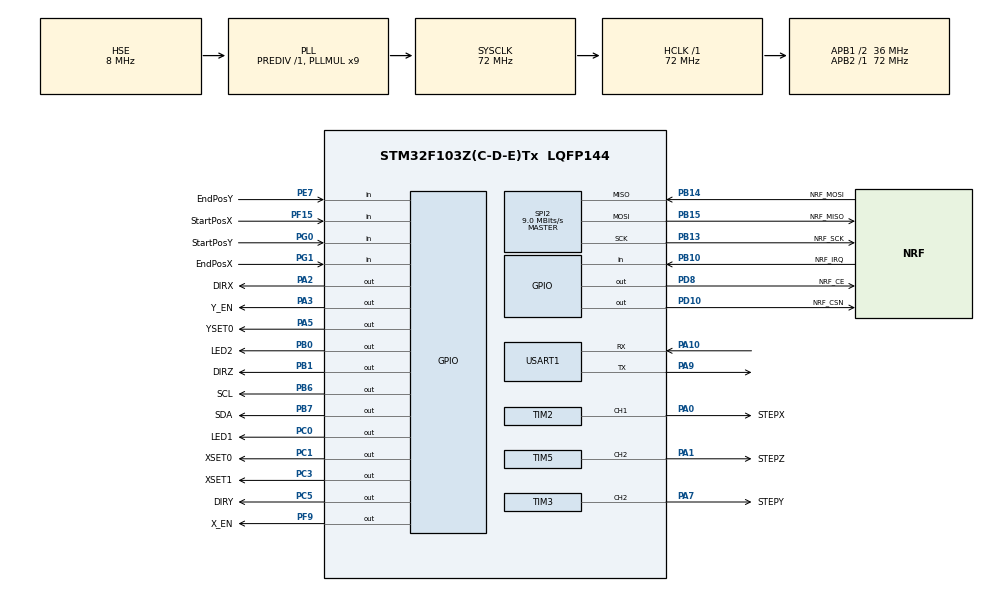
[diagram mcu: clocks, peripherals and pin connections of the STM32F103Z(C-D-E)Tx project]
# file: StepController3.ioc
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Dma.Request0=TIM2_CH1
Dma.Request1=TIM3_CH4/UP
Dma.TIM2_CH1.0.Direction=DMA_MEMORY_TO_PERIPH
Dma.TIM2_CH1.0.Instance=DMA1_Channel5
Dma.TIM2_CH1.0.MemDataAlignment=DMA_MDATAALIGN_HALFWORD
Dma.TIM2_CH1.0.MemInc=DMA_MINC_ENABLE
Dma.TIM2_CH1.0.Mode=DMA_NORMAL
Dma.TIM2_CH1.0.PeriphDataAlignment=DMA_PDATAALIGN_HALFWORD
Dma.TIM2_CH1.0.PeriphInc=DMA_PINC_DISABLE
Dma.TIM2_CH1.0.Priority=DMA_PRIORITY_MEDIUM
Dma.TIM3_CH4/UP.1.Direction=DMA_MEMORY_TO_PERIPH
Dma.TIM3_CH4/UP.1.Instance=DMA1_Channel3
Dma.TIM3_CH4/UP.1.MemDataAlignment=DMA_MDATAALIGN_HALFWORD
Dma.TIM3_CH4/UP.1.MemInc=DMA_MINC_ENABLE
Dma.TIM3_CH4/UP.1.Mode=DMA_NORMAL
Dma.TIM3_CH4/UP.1.PeriphDataAlignment=DMA_PDATAALIGN_HALFWORD
Dma.TIM3_CH4/UP.1.PeriphInc=DMA_PINC_DISABLE
Dma.TIM3_CH4/UP.1.Priority=DMA_PRIORITY_LOW
FREERTOS.Tasks01=Task01,0,160,NRFTask,Default;Task02,-3,180,StepperTask02,Default
Mcu.Family=STM32F1
Mcu.Name=STM32F103Z(C-D-E)Tx
Mcu.Package=LQFP144
NVIC.DMA1_Channel3_IRQn=true\:5\:0\:false\:false\:true\:true
NVIC.DMA1_Channel5_IRQn=true\:5\:0\:false\:false\:true\:true
NVIC.PriorityGroup=NVIC_PRIORITYGROUP_4
NVIC.TIM2_IRQn=true\:5\:0\:false\:false\:true\:true
NVIC.TIM3_IRQn=true\:5\:0\:false\:false\:true\:true
NVIC.TIM4_IRQn=true\:0\:0\:false\:false\:true\:false
NVIC.TIM5_IRQn=true\:5\:0\:false\:false\:true\:true
NVIC.TIM6_IRQn=true\:0\:0\:false\:false\:true\:false
NVIC.TIM7_IRQn=true\:5\:0\:false\:false\:true\:true
OSC_IN.Mode=HSE-External-Oscillator
OSC_IN.Signal=RCC_OSC_IN
OSC_OUT.Mode=HSE-External-Oscillator
OSC_OUT.Signal=RCC_OSC_OUT
PA0-WKUP.GPIO_Label=STEPX
PA0-WKUP.GPIO_Speed=GPIO_SPEED_FREQ_HIGH
PA0-WKUP.Signal=S_TIM2_CH1_ETR
PA1.GPIO_Label=STEPZ
PA1.GPIO_Speed=GPIO_SPEED_FREQ_HIGH
PA1.Signal=S_TIM5_CH2
PA10.Mode=Asynchronous
PA10.Signal=USART1_RX
PA13.Mode=Serial_Wire
PA13.Signal=SYS_JTMS-SWDIO
PA14.Mode=Serial_Wire
PA14.Signal=SYS_JTCK-SWCLK
PA2.GPIO_Label=DIRX
PA2.Signal=GPIO_Output
PA3.GPIO_Label=Y_EN
PA3.Signal=GPIO_Output
PA5.GPIO_Label=YSET0
PA5.Signal=GPIO_Output
PA7.GPIO_Label=STEPY
PA7.GPIO_Speed=GPIO_SPEED_FREQ_HIGH
PA7.Signal=S_TIM3_CH2
PA9.Mode=Asynchronous
PA9.Signal=USART1_TX
PB0.GPIO_Label=LED2
PB0.Signal=GPIO_Output
PB1.GPIO_Label=DIRZ
PB1.Signal=GPIO_Output
PB10.GPIO_Label=NRF_IRQ
PB10.Signal=GPIO_Input
PB13.GPIO_Label=NRF_SCK
PB13.Mode=Full_Duplex_Master
PB13.Signal=SPI2_SCK
PB14.GPIO_Label=NRF_MOSI
PB14.Mode=Full_Duplex_Master
PB14.Signal=SPI2_MISO
PB15.GPIO_Label=NRF_MISO
PB15.Mode=Full_Duplex_Master
PB15.Signal=SPI2_MOSI
PB6.GPIO_Label=SCL
PB6.GPIO_Speed=GPIO_SPEED_FREQ_HIGH
PB6.Signal=GPIO_Output
PB7.GPIO_Label=SDA
PB7.GPIO_Speed=GPIO_SPEED_FREQ_HIGH
PB7.Signal=GPIO_Output
PC0.GPIO_Label=LED1
PC0.Signal=GPIO_Output
PC1.GPIO_Label=XSET0
PC1.Signal=GPIO_Output
PC14-OSC32_IN.Mode=LSE-External-Oscillator
PC14-OSC32_IN.Signal=RCC_OSC32_IN
PC15-OSC32_OUT.Mode=LSE-External-Oscillator
PC15-OSC32_OUT.Signal=RCC_OSC32_OUT
PC3.GPIO_Label=XSET1
PC3.Signal=GPIO_Output
PC5.GPIO_Label=DIRY
PC5.Signal=GPIO_Output
PD10.GPIO_Label=NRF_CSN
PD10.Signal=GPIO_Output
PD8.GPIO_Label=NRF_CE
PD8.Signal=GPIO_Output
PE7.GPIO_Label=EndPosY
PE7.Signal=GPIO_Input
PF15.GPIO_Label=StartPosX
PF15.Signal=GPIO_Input
PF9.GPIO_Label=X_EN
PF9.Signal=GPIO_Output
PG0.GPIO_Label=StartPosY
PG0.Signal=GPIO_Input
PG1.GPIO_Label=EndPosX
PG1.Signal=GPIO_Input
ProjectManager.HeapSize=0x200
ProjectManager.StackSize=0x400
ProjectManager.TargetToolchain=MDK-ARM V5
RCC.AHBFreq_Value=72000000
RCC.APB1CLKDivider=RCC_HCLK_DIV2
RCC.APB1Freq_Value=36000000
RCC.APB1TimFreq_Value=72000000
RCC.APB2Freq_Value=72000000
RCC.APB2TimFreq_Value=72000000
RCC.HCLKFreq_Value=72000000
RCC.HSIState=RCC_HSI_ON
RCC.PLLMUL=RCC_PLL_MUL9
RCC.PLLSourceVirtual=RCC_PLLSOURCE_HSE
RCC.SYSCLKFreq_VALUE=72000000
RCC.SYSCLKSource=RCC_SYSCLKSOURCE_PLLCLK
RCC.USBFreq_Value=72000000
SH.S_TIM2_CH1_ETR.0=TIM2_CH1,Output Compare1 CH1
SH.S_TIM3_CH2.0=TIM3_CH2,Output Compare2 CH2
SH.S_TIM5_CH2.0=TIM5_CH2,PWM Generation2 CH2
SPI2.BaudRatePrescaler=SPI_BAUDRATEPRESCALER_4
SPI2.CRCCalculation=SPI_CRCCALCULATION_DISABLE
SPI2.CalculateBaudRate=9.0 MBits/s
SPI2.DataSize=SPI_DATASIZE_8BIT
SPI2.Mode=SPI_MODE_MASTER
TIM2.OCMode_1=TIM_OCMODE_TOGGLE
TIM2.OCPolarity_1=TIM_OCPOLARITY_LOW
TIM2.Period=200
TIM2.Prescaler=7200
TIM3.Channel-Output\ Compare2\ CH2=TIM_CHANNEL_2
TIM3.OCMode_2=TIM_OCMODE_TOGGLE
TIM3.OCPolarity_2=TIM_OCPOLARITY_LOW
TIM3.Period=200
TIM3.Prescaler=7200
TIM5.Channel-PWM\ Generation2\ CH2=TIM_CHANNEL_2
TIM5.Period=2000
TIM5.Prescaler=720
TIM5.Pulse-PWM\ Generation2\ CH2=1000
TIM6.Period=10000-1
TIM6.Prescaler=7200-1
TIM7.Period=60
TIM7.Prescaler=6000
VP_CRC_VS_CRC.Mode=CRC_Activate
VP_FREERTOS_VS_ENABLE.Mode=Enabled
VP_TIM4_VS_ClockSourceINT.Mode=Internal
VP_TIM6_VS_ClockSourceINT.Mode=Enable_Timer
VP_TIM7_VS_ClockSourceINT.Mode=Enable_Timer
board=StepController3

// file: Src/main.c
/**
  ******************************************************************************
  * File Name          : main.c
  * Description        : Main program body
  ******************************************************************************
  *
  * COPYRIGHT(c) 2016 STMicroelectronics
  *
  * Redistribution and use in source and binary forms, with or without modification,
  * are permitted provided that the following conditions are met:
  *   1. Redistributions of source code must retain the above copyright notice,
  *      this list of conditions and the following disclaimer.
  *   2. Redistributions in binary form must reproduce the above copyright notice,
  *      this list of conditions and the following disclaimer in the documentation
  *      and/or other materials provided with the distribution.
  *   3. Neither the name of STMicroelectronics nor the names of its contributors
  *      may be used to endorse or promote products derived from this software
  *      without specific prior written permission.
  *
  * THIS SOFTWARE IS PROVIDED BY THE COPYRIGHT HOLDERS AND CONTRIBUTORS "AS IS"
  * AND ANY EXPRESS OR IMPLIED WARRANTIES, INCLUDING, BUT NOT LIMITED TO, THE
  * IMPLIED WARRANTIES OF MERCHANTABILITY AND FITNESS FOR A PARTICULAR PURPOSE ARE
  * DISCLAIMED. IN NO EVENT SHALL THE COPYRIGHT HOLDER OR CONTRIBUTORS BE LIABLE
  * FOR ANY DIRECT, INDIRECT, INCIDENTAL, SPECIAL, EXEMPLARY, OR CONSEQUENTIAL
  * DAMAGES (INCLUDING, BUT NOT LIMITED TO, PROCUREMENT OF SUBSTITUTE GOODS OR
  * SERVICES; LOSS OF USE, DATA, OR PROFITS; OR BUSINESS INTERRUPTION) HOWEVER
  * CAUSED AND ON ANY THEORY OF LIABILITY, WHETHER IN CONTRACT, STRICT LIABILITY,
  * OR TORT (INCLUDING NEGLIGENCE OR OTHERWISE) ARISING IN ANY WAY OUT OF THE USE
  * OF THIS SOFTWARE, EVEN IF ADVISED OF THE POSSIBILITY OF SUCH DAMAGE.
  *
  ******************************************************************************
  */
#include "stm32f1xx_hal.h"
#include "cmsis_os.h"
#include "crc.h"
#include "dma.h"
#include "spi.h"
#include "tim.h"
#include "usart.h"
#include "gpio.h"

/* USER CODE BEGIN Includes */
#include "include.h"
/* USER CODE END Includes */

/* USER CODE BEGIN PV */
/* Private variables ---------------------------------------------------------*/

/* USER CODE END PV */

void SystemClock_Config(void);
void Error_Handler(void);
void MX_FREERTOS_Init(void);

/* USER CODE BEGIN PFP */
/* Private function prototypes -----------------------------------------------*/

/* USER CODE END PFP */

int main(void)
{

  /* MCU Configuration----------------------------------------------------------*/

  /* Reset of all peripherals, Initializes the Flash interface and the Systick. */
  HAL_Init();

  /* Configure the system clock */
  SystemClock_Config();

  /* Initialize all configured peripherals */
  MX_GPIO_Init();
  MX_DMA_Init();
  MX_CRC_Init();
  MX_SPI2_Init();
  MX_TIM2_Init();
  MX_TIM3_Init();
  MX_TIM5_Init();
  MX_USART1_UART_Init();
  MX_TIM6_Init();
  MX_TIM4_Init();
  MX_TIM7_Init();

  /* USER CODE BEGIN 2 */
  bsp_Init();
//  while(NRF24L01_Check())
//  {
//		HAL_GPIO_TogglePin(LED1_GPIO_Port,LED1_Pin);
//    HAL_Delay(500);
//  }
//	printf("hello");
////	while(AT24CXX_Check())
////	{
////		HAL_GPIO_TogglePin(LED2_GPIO_Port,LED2_Pin);
////		HAL_Delay(1000);
////	}
//  while(1)
//  {
//    HAL_GPIO_TogglePin(LED2_GPIO_Port,LED2_Pin);
//    HAL_Delay(200);
//		HAL_GPIO_TogglePin(LED1_GPIO_Port,LED1_Pin);
//  }

//	HAL_TIM_PWM_Start(&htim3,TIM_CHANNEL_2);
//	HAL_TIM_PWM_Start(&htim2,TIM_CHANNEL_1);
//	HAL_TIM_PWM_Start(&htim5,TIM_CHANNEL_2);
//	while(1);
	bsp_Check();
  /* USER CODE END 2 */

  /* Call init function for freertos objects (in freertos.c) */
  MX_FREERTOS_Init();

  /* Start scheduler */
  osKernelStart();

  /* We should never get here as control is now taken by the scheduler */

  /* Infinite loop */
  while (1)
  {

  }

}

/** System Clock Configuration
*/
void SystemClock_Config(void)
{

  RCC_OscInitTypeDef RCC_OscInitStruct;
  RCC_ClkInitTypeDef RCC_ClkInitStruct;

  RCC_OscInitStruct.OscillatorType = RCC_OSCILLATORTYPE_HSE;
  RCC_OscInitStruct.HSEState = RCC_HSE_ON;
  RCC_OscInitStruct.HSEPredivValue = RCC_HSE_PREDIV_DIV1;
  RCC_OscInitStruct.PLL.PLLState = RCC_PLL_ON;
  RCC_OscInitStruct.PLL.PLLSource = RCC_PLLSOURCE_HSE;
  RCC_OscInitStruct.PLL.PLLMUL = RCC_PLL_MUL9;
  if (HAL_RCC_OscConfig(&RCC_OscInitStruct) != HAL_OK)
  {
    Error_Handler();
  }

  RCC_ClkInitStruct.ClockType = RCC_CLOCKTYPE_HCLK|RCC_CLOCKTYPE_SYSCLK
                              |RCC_CLOCKTYPE_PCLK1|RCC_CLOCKTYPE_PCLK2;
  RCC_ClkInitStruct.SYSCLKSource = RCC_SYSCLKSOURCE_PLLCLK;
  RCC_ClkInitStruct.AHBCLKDivider = RCC_SYSCLK_DIV1;
  RCC_ClkInitStruct.APB1CLKDivider = RCC_HCLK_DIV2;
  RCC_ClkInitStruct.APB2CLKDivider = RCC_HCLK_DIV1;
  if (HAL_RCC_ClockConfig(&RCC_ClkInitStruct, FLASH_LATENCY_2) != HAL_OK)
  {
    Error_Handler();
  }

  HAL_SYSTICK_Config(HAL_RCC_GetHCLKFreq()/1000);

  HAL_SYSTICK_CLKSourceConfig(SYSTICK_CLKSOURCE_HCLK);

  /* SysTick_IRQn interrupt configuration */
  HAL_NVIC_SetPriority(SysTick_IRQn, 15, 0);
}

void Error_Handler(void)
{
  while(1)
  {
  }
}

/************************ (C) COPYRIGHT STMicroelectronics *****END OF FILE****/

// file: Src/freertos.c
/**
  ******************************************************************************
  * File Name          : freertos.c
  * Description        : Code for freertos applications
  ******************************************************************************
  *
  * COPYRIGHT(c) 2016 STMicroelectronics
  *
  * Redistribution and use in source and binary forms, with or without modification,
  * are permitted provided that the following conditions are met:
  *   1. Redistributions of source code must retain the above copyright notice,
  *      this list of conditions and the following disclaimer.
  *   2. Redistributions in binary form must reproduce the above copyright notice,
  *      this list of conditions and the following disclaimer in the documentation
  *      and/or other materials provided with the distribution.
  *   3. Neither the name of STMicroelectronics nor the names of its contributors
  *      may be used to endorse or promote products derived from this software
  *      without specific prior written permission.
  *
  * THIS SOFTWARE IS PROVIDED BY THE COPYRIGHT HOLDERS AND CONTRIBUTORS "AS IS"
  * AND ANY EXPRESS OR IMPLIED WARRANTIES, INCLUDING, BUT NOT LIMITED TO, THE
  * IMPLIED WARRANTIES OF MERCHANTABILITY AND FITNESS FOR A PARTICULAR PURPOSE ARE
  * DISCLAIMED. IN NO EVENT SHALL THE COPYRIGHT HOLDER OR CONTRIBUTORS BE LIABLE
  * FOR ANY DIRECT, INDIRECT, INCIDENTAL, SPECIAL, EXEMPLARY, OR CONSEQUENTIAL
  * DAMAGES (INCLUDING, BUT NOT LIMITED TO, PROCUREMENT OF SUBSTITUTE GOODS OR
  * SERVICES; LOSS OF USE, DATA, OR PROFITS; OR BUSINESS INTERRUPTION) HOWEVER
  * CAUSED AND ON ANY THEORY OF LIABILITY, WHETHER IN CONTRACT, STRICT LIABILITY,
  * OR TORT (INCLUDING NEGLIGENCE OR OTHERWISE) ARISING IN ANY WAY OUT OF THE USE
  * OF THIS SOFTWARE, EVEN IF ADVISED OF THE POSSIBILITY OF SUCH DAMAGE.
  *
  ******************************************************************************
  */

#include "FreeRTOS.h"
#include "task.h"
#include "cmsis_os.h"

/* USER CODE BEGIN Includes */
#include "include.h"
/* USER CODE END Includes */

osThreadId Task01Handle;
osThreadId Task02Handle;

/* USER CODE BEGIN Variables */
static SemaphoreHandle_t  xMutex = NULL;
uint8_t Messagesign = 0;                  //消息队列标志
uint8_t StepProcess = 1;									//绘画控制标志
uint8_t sendtmp = 0x56;                   //发送成功标志
uint8_t DataLength;                       //接收数组长度
uint8_t xPostmp;                          //8位位置数据
uint8_t yPostmp;                          //8位位置数据
uint16_t Postmp;                          //16位位置数据

uint8_t *PenDataX = NULL;
uint8_t *PenDataY = NULL;

/* USER CODE END Variables */

void NRFTask(void const * argument);
void StepperTask02(void const * argument);

void MX_FREERTOS_Init(void); /* (MISRA C 2004 rule 8.1) */

/* USER CODE BEGIN FunctionPrototypes */
void USART_SendData(void const * argument, ...);
void AppObjCreate (void);
/* USER CODE END FunctionPrototypes */

/* Hook prototypes */

/* Init FreeRTOS */

void MX_FREERTOS_Init(void) {

  /* Create the thread(s) */
  /* definition and creation of Task01 */
  osThreadDef(Task01, NRFTask, osPriorityNormal, 0, 160);
  Task01Handle = osThreadCreate(osThread(Task01), NULL);

  /* definition and creation of Task02 */
  osThreadDef(Task02, StepperTask02, osPriorityIdle, 0, 180);
  Task02Handle = osThreadCreate(osThread(Task02), NULL);

}

/* NRFTask function */
void NRFTask(void const * argument)
{

  /* USER CODE BEGIN NRFTask */
  /* Infinite loop */
  for(;;)
  {
		RX_Mode();
		if(NRF24L01_RxPacket(&DataLength)== 0)
		{
			AppObjCreate();              //创建互斥信号量
			PenDataX=(uint8_t *)mymalloc(SRAMIN,((uint8_t)DataLength)*100*sizeof(uint8_t));
			PenDataY=(uint8_t *)mymalloc(SRAMIN,((uint8_t)DataLength)*100*sizeof(uint8_t));
			HAL_Delay(20);
			if(NRF24L01_RxPacket(PenDataX) == 0)
      {
				RX_Mode();
				if(NRF24L01_RxPacket(PenDataY) == 0)
				{
					if(PenDataX[0] == 0x80&&PenDataY[0] == 0x80)
					{
						TX_Mode();
						NRF24L01_TxPacket(&sendtmp);
						Messagesign = 1;
					}
					else
					{
						USART_SendData("Data Received error!");
						Messagesign = 0;
					}
				}
				else USART_SendData("Data haven't received compeletly!");
      }
			xSemaphoreGive(xMutex);      //释放信号量
		}
    osDelay(5);
  }
  /* USER CODE END NRFTask */
}

/* StepperTask02 function */
void StepperTask02(void const * argument)
{
  /* USER CODE BEGIN StepperTask02 */
  /* Infinite loop */
  for(;;)
  {
		if(Messagesign == 1)
    {
      AppObjCreate();              //创建互斥信号量
			USART_SendData("Start Drawing!");
      Postmp = Stepper_Read_eeprom_pos();
      if(Postmp != 0)
      {
        xPostmp = Postmp&0xff;     //读当前位置值
        yPostmp = Postmp>>8;
      }

			X_enable();                  //电机驱动使能
			Y_enable();

			volatile uint8_t xTargetPos,yTargetPos,xbit,ybit,zstatus=0,i=1;
	//循环计数（check）
			for(uint8_t step = 1;(step<=DataLength*100*sizeof(uint8_t));step++)
      {
				if(PenDataX[step]==0xff&&PenDataY[step]==0x00)                    //Z轴状态控制
				{																							//写
					Z_Bdir();
					Stepper_Pen_Press();
					step++;
				}
				else if(PenDataX[step]==0x00&&PenDataX[step]==0xff)								//提
				{
					Z_Fdir();
					Stepper_Pen_Press();
					step++;
				}

				else if(PenDataX[step]!=0&&PenDataX[step]!=0)																			//轨迹运算
				{
						xTargetPos = PenDataX[step];
						yTargetPos = PenDataY[step];
						if(xTargetPos > xPostmp)
							{X_Fdir();xbit = xTargetPos - xPostmp;}
						else if(xTargetPos < xPostmp)
							{X_Bdir();xbit = xPostmp - xTargetPos;}
						if(yTargetPos > yPostmp)
							{Y_Fdir();ybit = yTargetPos - yPostmp;}
						else if(yTargetPos < yPostmp)
							{Y_Bdir();ybit = yPostmp - yTargetPos;}

						Stepper_Draw_Point(xbit,ybit);     //电机运动控制
						xPostmp = xTargetPos;
						yPostmp = yTargetPos;
						while(StepProcess);
						if(i/5 == 1)
						{
							Stepper_Save_pos(xPostmp,yPostmp);
							i = 0;
						}
						else	i++;
				}
      }
			X_disable();                 //电机失能
      Y_disable();
			myfree(SRAMIN,PenDataX);
			myfree(SRAMIN,PenDataY);
			xSemaphoreGive(xMutex);      //释放信号量
    }
    Messagesign = 0;
    osDelay(5);
  }
  /* USER CODE END StepperTask02 */
}

/* USER CODE BEGIN Application */
void AppObjCreate (void)
{
		/* 创建互斥信号量 */
    xMutex = xSemaphoreCreateMutex();

	if(xMutex == NULL)
    {
      /* 没有创建成功，在这里加入创建失败的处理机制 */
			USART_SendData("xMutex Create Failed!\r\n\0");
    }
}

/* USART_SendData function */
void USART_SendData(void const * argument, ...)
{
  /* USER CODE BEGIN USART_SendData */
  /* Infinite loop */
    char  buf_str[200];

		sprintf(buf_str,"%s\r\n",argument);

		xSemaphoreTake(xMutex, portMAX_DELAY);

    HAL_UART_Transmit(&huart1,(uint8_t*)buf_str,strlen(buf_str),300);

   	xSemaphoreGive(xMutex);
  /* USER CODE END USART_SendData */
}
/* USER CODE END Application */

/************************ (C) COPYRIGHT STMicroelectronics *****END OF FILE****/
